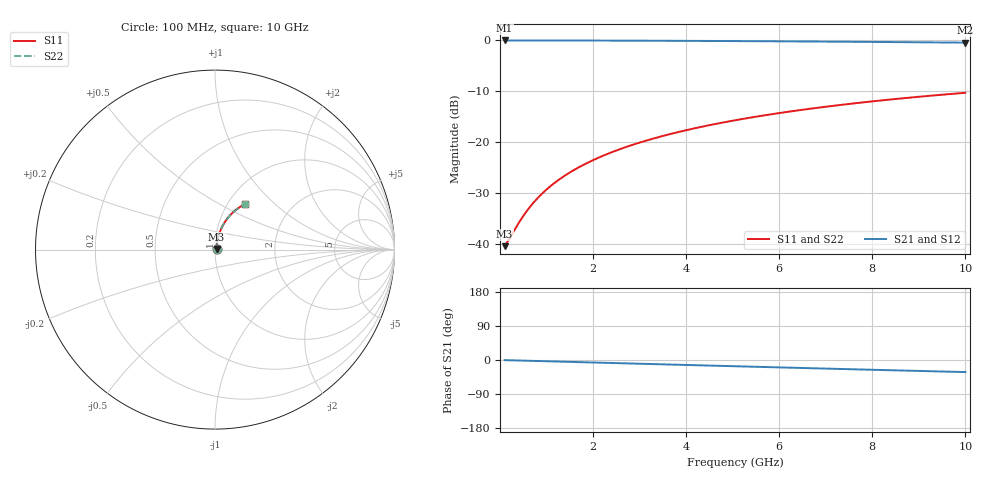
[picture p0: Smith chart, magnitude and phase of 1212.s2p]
# Hz S RI R 50.00
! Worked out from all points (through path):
!   100 points, 100 MHz to 10 GHz, reference 50 ohm
!   highest |S21| = -0.08 dB at 100 MHz (marker M1); lowest = -0.5 dB at 10 GHz (marker M2)
!   group delay of S21, straight-line fit = 8.87 ps
!   lowest |S11| = -40.4 dB at 100 MHz (marker M3), VSWR 1.02, Z = 50.9 + j0.332 ohm
!   |S11| at or under -10 dB: start of sweep to end of sweep
!   |S22| runs from -40.4 to -10.3 dB; largest |S21 - S12| = 0
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1e8  0.00901 0.00326  0.991 -0.00569  0.991 -0.00569  0.00901 0.00326
2e8  0.00912 0.00652  0.9909 -0.0114  0.9909 -0.0114  0.00912 0.00652
4e8  0.00942 0.013  0.9905 -0.0227  0.9905 -0.0227  0.00942 0.013
5e8  0.00962 0.0163  0.9903 -0.0284  0.9903 -0.0284  0.00962 0.0163
6e8  0.00985 0.0195  0.99 -0.0341  0.99 -0.0341  0.00985 0.0195
7e8  0.0101 0.0228  0.9897 -0.0398  0.9897 -0.0398  0.0101 0.0228
8e8  0.0104 0.026  0.9894 -0.0454  0.9894 -0.0454  0.0104 0.026
1e9  0.0111 0.0325  0.9885 -0.0568  0.9885 -0.0568  0.0111 0.0325
1.2e9  0.012 0.0389  0.9876 -0.0681  0.9876 -0.0681  0.012 0.0389
1.5e9  0.0135 0.0486  0.9858 -0.085  0.9858 -0.085  0.0135 0.0486
1.8e9  0.0154 0.0581  0.9836 -0.1019  0.9836 -0.1019  0.0154 0.0581
2.1e9  0.0176 0.0676  0.981 -0.1186  0.981 -0.1186  0.0176 0.0676
2.5e9  0.021 0.0801  0.9771 -0.1409  0.9771 -0.1409  0.021 0.0801
2.9e9  0.025 0.0924  0.9724 -0.1629  0.9724 -0.1629  0.025 0.0924
3.4e9  0.0307 0.1075  0.9657 -0.1901  0.9657 -0.1901  0.0307 0.1075
4.2e9  0.0416 0.1307  0.953 -0.2328  0.953 -0.2328  0.0416 0.1307
5.1e9  0.0562 0.1554  0.9359 -0.2795  0.9359 -0.2795  0.0562 0.1554
5.9e9  0.0711 0.1758  0.9184 -0.3195  0.9184 -0.3195  0.0711 0.1758
6.7e9  0.0875 0.1947  0.8989 -0.3579  0.8989 -0.3579  0.0875 0.1947
7.5e9  0.1054 0.2119  0.8775 -0.3947  0.8775 -0.3947  0.1054 0.2119
8.4e9  0.127 0.2291  0.8515 -0.434  0.8515 -0.434  0.127 0.2291
1e10  0.1683 0.2537  0.801 -0.4981  0.801 -0.4981  0.1683 0.2537
